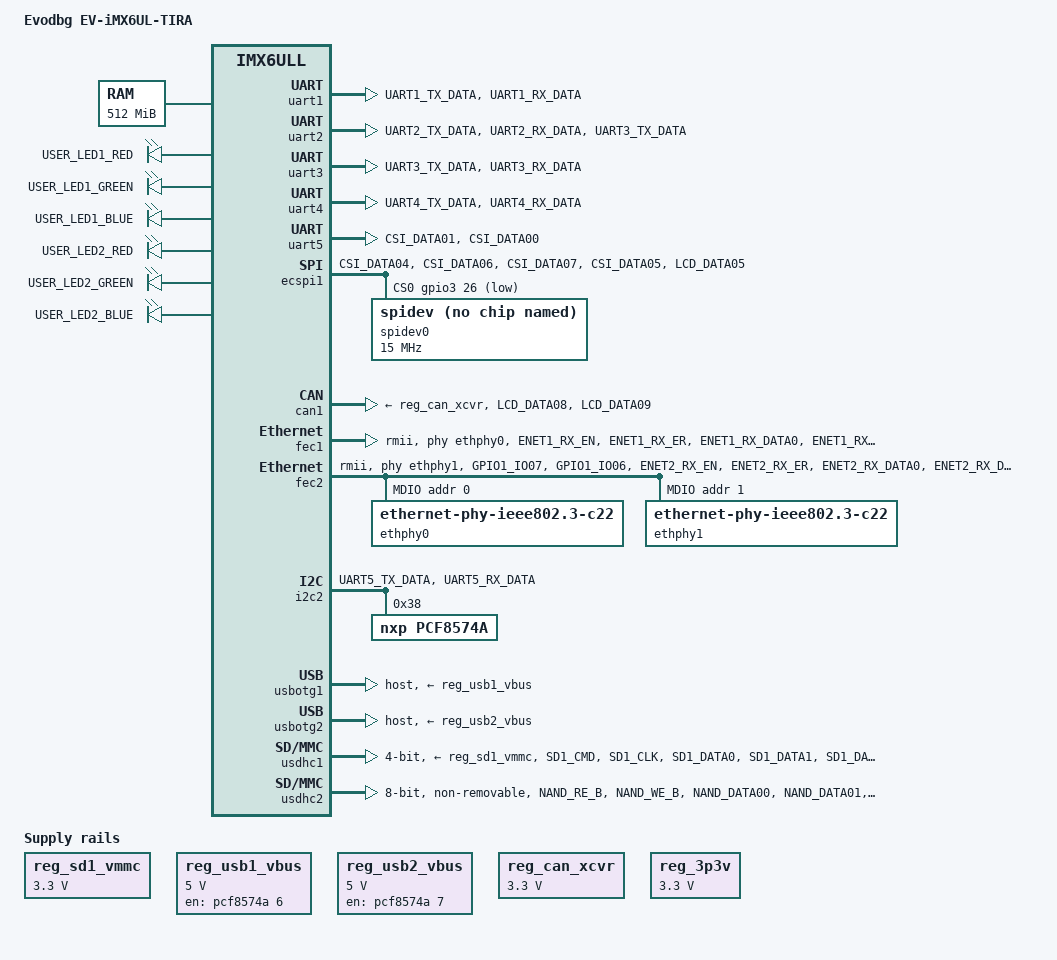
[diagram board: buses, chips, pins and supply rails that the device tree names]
/*
 * Copyright (C) 2015 Freescale Semiconductor, Inc.
 *
 * This program is free software; you can redistribute it and/or modify
 * it under the terms of the GNU General Public License version 2 as
 * published by the Free Software Foundation.
 */

 /*
  * EV-iMX6UL-NANO module 
  * www.otladka.com.ua
  * contact  evodbg@gmail.com
  */

/dts-v1/;

#include "imx6ull.dtsi"

/ {
        model = "Evodbg EV-iMX6UL-TIRA";
        compatible = "fsl,imx6ull-14x14-evk", "fsl,imx6ull";

        memory {
                reg = <0x80000000 0x20000000>;
        };

        chosen {
                stdout-path = &uart1;
        };

       
        regulators {
                compatible = "simple-bus";
                #address-cells = <1>;
                #size-cells = <0>;


                reg_sd1_vmmc: regulator-sd1 {
                        compatible = "regulator-fixed";
                        reg = <1>;
                        regulator-name = "VSD_3V3";
                        regulator-min-microvolt = <3300000>;
                        regulator-max-microvolt = <3300000>;
                        regulator-always-on;
                };

                reg_usb1_vbus: regulator-usb1 {
                        compatible = "regulator-fixed";
                        reg = <2>;
                        regulator-name = "usb1_vbus";
                        regulator-min-microvolt = <5000000>;
                        regulator-max-microvolt = <5000000>;
                        gpio = <&pcf8574a 6 GPIO_ACTIVE_HIGH>;
			            enable-active-high;
                        regulator-always-on;
                };


                reg_usb2_vbus: regulator-usb2 {
                        compatible = "regulator-fixed";
                        reg = <3>;
                        regulator-name = "usb2_vbus";
                        regulator-min-microvolt = <5000000>;
                        regulator-max-microvolt = <5000000>;
                        gpio = <&pcf8574a 7 GPIO_ACTIVE_HIGH>;
			            enable-active-high;
                        regulator-always-on;
                };

                reg_can_xcvr: regulator-canxcvr {
                        compatible = "regulator-fixed";
                        reg = <4>;
                        regulator-name = "CAN XCVR";
                        regulator-min-microvolt = <3300000>;
                        regulator-max-microvolt = <3300000>;
                        regulator-always-on;
    		    };

    		    reg_3p3v: regulator-3p3v {
                        compatible = "regulator-fixed";
                        reg = <9>;
                        regulator-name = "3P3V";
                        regulator-min-microvolt = <3300000>;
                        regulator-max-microvolt = <3300000>;
                        regulator-always-on;
                        regulator-boot-on;
                };


    };

        leds    {
                        compatible = "gpio-leds";
                        pinctrl-names = "default";                        

                    USER_LED1R {                                                        // Onboard User LED1 Red
                        gpio = <&pcf8574a 0 GPIO_ACTIVE_LOW>;
                        label = "USER_LED1_RED";
                        linux,default-trigger = "20b4000.ethernet-1:01:link";
                        default-state = "off";
                        };    

                    USER_LED1G {                                                        // Onboard User LED1 Green
                        gpio = <&pcf8574a 1 GPIO_ACTIVE_LOW>;
                        label = "USER_LED1_GREEN";
                        linux,default-trigger = "none";
                        default-state = "off";
                        };        

                    USER_LED1B {                                                        // Onboard User LED1 Blue
                        gpio = <&pcf8574a 2 GPIO_ACTIVE_LOW>;
                        label = "USER_LED1_BLUE";
                        linux,default-trigger = "20b4000.ethernet-1:01:100Mbps";
                        default-state = "off";
                        };                                

                    USER_LED2R {                                                        // Onboard User LED2 Red
                        gpio = <&pcf8574a 3 GPIO_ACTIVE_LOW>;
                        label = "USER_LED2_RED";
                        linux,default-trigger = "20b4000.ethernet-1:00:link";
                        default-state = "off";
                        };     

                    USER_LED2G {                                                        // Onboard User LED2 Green
                        gpio = <&pcf8574a 4 GPIO_ACTIVE_LOW>;
                        label = "USER_LED2_GREEN";
                        linux,default-trigger = "none";
                        default-state = "off";
                        };   

                    USER_LED2B {                                                        // Onboard User LED2 Red
                        gpio = <&pcf8574a 5 GPIO_ACTIVE_LOW>;
                        label = "USER_LED2_BLUE";
                        linux,default-trigger = "20b4000.ethernet-1:00:100Mbps";
                        default-state = "off";
                        };                                                          
        };
};


&clks {
	    assigned-clocks = <&clks IMX6UL_CLK_PLL4_AUDIO_DIV>;
	    assigned-clock-rates = <786432000>;
};


&uart1 {                                        // DUART console  pins 13+15
        pinctrl-names = "default";
        pinctrl-0 = <&pinctrl_uart1>;
        status = "okay";
};


&uart2 {                                        // UART2 - RS485 interface pins 17+19+50 (mux with CAN)
        pinctrl-names = "default";
        pinctrl-0 = <&pinctrl_uart2>;
        uart-has-rtscts;
        status = "okay";
};

&uart3 {                                        // UART3 - pins 21 + 23
        pinctrl-names = "default";
        pinctrl-0 = <&pinctrl_uart3>;
        status = "okay";
};

&uart4 {                                        // UART4 - pins 28 + 30
        pinctrl-names = "default";
        pinctrl-0 = <&pinctrl_uart4>;
        status = "okay";
};


&uart5 {                                        
        pinctrl-names = "default";              // UART5 - pins 36 + 38
        pinctrl-0 = <&pinctrl_uart5>;
        status = "okay";
};



&ecspi1 {   
        fsl,spi-num-chipselects = <1>;          
        cs-gpios = <&gpio3 26 GPIO_ACTIVE_LOW
		            >;
        pinctrl-names = "default";
        pinctrl-0 = <&pinctrl_ecspi1>;
        status = "okay";

        spidev0: spi@0 {
                compatible = "spidev";
                reg = <0>;
                spi-max-frequency = <15000000>;
                };
};


&can1 {
        pinctrl-names = "default";              // CAN1 - pins 44 + 46
        pinctrl-0 = <&pinctrl_flexcan1>;
        xceiver-supply = <&reg_can_xcvr>;
        status = "okay";
};


&fec1 {
        pinctrl-names = "default";
        pinctrl-0 = <&pinctrl_enet1>;
        phy-mode = "rmii";
        phy-handle = <&ethphy0>;
        phy-reset-gpios = <&gpio5 1 GPIO_ACTIVE_LOW>;
        phy-reset-duration = <100>;
        status = "okay";
};



&fec2 {
        pinctrl-names = "default";
        pinctrl-0 = <&pinctrl_enet2>;
        phy-mode = "rmii";
        phy-handle = <&ethphy1>;
        status = "okay";

        mdio {
                #address-cells = <1>;
                #size-cells = <0>;

                ethphy0: ethernet-phy@0 {
                        compatible = "ethernet-phy-ieee802.3-c22";
                        reg = <0>;
                };

                ethphy1: ethernet-phy@1 {
                        compatible = "ethernet-phy-ieee802.3-c22";
                        reg = <1>;
                };
        };
};

&gpc {
        fsl,cpu_pupscr_sw2iso = <0x1>;
        fsl,cpu_pupscr_sw = <0x0>;
        fsl,cpu_pdnscr_iso2sw = <0x1>;
        fsl,cpu_pdnscr_iso = <0x1>;
        fsl,ldo-bypass = <0>; /* DCDC, ldo-enable */
};

&i2c2 {
        clock_frequency = <400000>;
        pinctrl-names = "default";
        pinctrl-0 = <&pinctrl_i2c2>;
        status = "okay";

	pcf8574a: gpio@38 {                                     //GPIO Expander1 only out U12 (Mainboard)
                                    // P0 - LED 1 Red
                                    // P1 - LED 1 Green
                                    // P2 - LED 1 Blue
                	                // P3 - LED 2 Red
                                    // P4 - LED 2 Green
                    	            // P5 - LED 2 Blue
                                    // P6 - USB1 Power Enale
                                    // P7 - USB2 Power Enable
                compatible = "nxp,pcf8574a";
                reg = <0x38>;                                   // PCF8574A Address -0-0-0
                gpio-controller;
                #gpio-cells = <2>;
                };
};

&usbotg1 {
        dr_mode = "host";
        srp-disable;
        hnp-disable;
        adp-disable;
        vbus-supply = <&reg_usb1_vbus>;
        status = "okay";
};

&usbotg2 {
        vbus-supply = <&reg_usb2_vbus>;
        dr_mode = "host";
        disable-over-current;
        status = "okay";
};

&usbphy1 {
        tx-d-cal = <0x5>;
};

&usbphy2 {
        tx-d-cal = <0x5>;
};


&usdhc1 {
        #address-cells = <1>;
        #size-cells = <0>;
        pinctrl-names = "default";
        pinctrl-0 = <&pinctrl_usdhc1>;
        bus-width = <4>;
        cd-gpios = <&gpio1 19 GPIO_ACTIVE_LOW>;
        keep-power-in-suspend;
        wakeup-source;
        vmmc-supply = <&reg_sd1_vmmc>;
        status = "okay";
};

&usdhc2 {
        pinctrl-names = "default";
        pinctrl-0 = <&pinctrl_usdhc2>;
        bus-width = <8>;
        no-1-8-v;
        non-removable;
        keep-power-in-suspend;
        enable-sdio-wakeup;
        status = "okay";
};

&iomuxc {
        pinctrl-names = "default";
        pinctrl-0 = <&pinctrl_hog>;
        pinctrl_hog: hoggrp {
                        fsl,pins = <

// Main Connector                                                                     Module pin

                                // MX6UL_PAD_SD1_CLK__GPIO2_IO17                          4
                                // MX6UL_PAD_SD1_CMD__GPIO2_IO16                          6
                                // MX6UL_PAD_GPIO1_IO00__GPIO1_IO00                       7
                                // MX6UL_PAD_SD1_DATA0__GPIO2_IO18                        8
                                // MX6UL_PAD_SD1_DATA1__GPIO2_IO19                       10
                                // MX6UL_PAD_SD1_DATA2__GPIO2_IO20                       12
                                // MX6UL_PAD_UART1_RX_DATA__GPIO1_IO17                   13
                                // MX6UL_PAD_SD1_DATA3__GPIO2_IO21                       14
                                // MX6UL_PAD_UART1_TX_DATA__GPIO1_IO16                   15
                                // MX6UL_PAD_UART1_RTS_B__GPIO1_IO19                     16
                                // MX6UL_PAD_UART2_RX_DATA__GPIO1_IO21                   17
                                // MX6UL_PAD_CSI_DATA04__GPIO4_IO25                      18
                                // MX6UL_PAD_UART2_TX_DATA__GPIO1_IO20                   19
                                // MX6UL_PAD_CSI_DATA07__GPIO4_IO28                      20
                                // MX6UL_PAD_UART3_RX_DATA__GPIO1_IO25                   21
                                // MX6UL_PAD_CSI_DATA06__GPIO4_IO27                      22
                                // MX6UL_PAD_UART3_TX_DATA__GPIO1_IO24                   23
                                // MX6UL_PAD_CSI_DATA05__GPIO4_IO26                      24
                                // MX6UL_PAD_CSI_PIXCLK__GPIO4_IO18                      25
                                // MX6UL_PAD_LCD_DATA05__GPIO3_IO10                      26
                                // MX6UL_PAD_CSI_MCLK__GPIO4_IO17                        27
                                // MX6UL_PAD_UART4_RX_DATA__GPIO1_IO29                   28
                                // MX6UL_PAD_UART4_TX_DATA__GPIO1_IO28                   30
                                // MX6UL_PAD_UART3_RTS_B__GPIO1_IO27                     32
                                // MX6UL_PAD_CSI_DATA02__GPIO4_IO23                      34
                                // MX6UL_PAD_CSI_DATA01__GPIO4_IO22                      36
                                // MX6UL_PAD_CSI_DATA00__GPIO4_IO21                      38
                                // MX6UL_PAD_CSI_HSYNC__GPIO4_IO20                       40
                                // MX6UL_PAD_CSI_VSYNC__GPIO4_IO19                       42
                                // MX6UL_PAD_LCD_DATA09__GPIO3_IO14                      44
                                // MX6UL_PAD_LCD_DATA08__GPIO3_IO13                      46
                                // MX6UL_PAD_UART2_RTS_B__GPIO1_IO23                     48
                                // MX6UL_PAD_UART2_CTS_B__GPIO1_IO22                     50
                                        
                        >;
                };
              
                pinctrl_enet1: enet1grp {
                        fsl,pins = <
                                MX6UL_PAD_ENET1_RX_EN__ENET1_RX_EN      0x1b0b0
                                MX6UL_PAD_ENET1_RX_ER__ENET1_RX_ER      0x1b0b0
                                MX6UL_PAD_ENET1_RX_DATA0__ENET1_RDATA00 0x1b0b0
                                MX6UL_PAD_ENET1_RX_DATA1__ENET1_RDATA01 0x1b0b0
                                MX6UL_PAD_ENET1_TX_EN__ENET1_TX_EN      0x1b0b0
                                MX6UL_PAD_ENET1_TX_DATA0__ENET1_TDATA00 0x1b0b0
                                MX6UL_PAD_ENET1_TX_DATA1__ENET1_TDATA01 0x1b0b0
                                MX6UL_PAD_ENET1_TX_CLK__ENET1_REF_CLK1  0x4001b031
                                MX6UL_PAD_SNVS_TAMPER1__GPIO5_IO01      0x0b0b0
                        >;
                };

                pinctrl_enet2: enet2grp {
                        fsl,pins = <
                                MX6UL_PAD_GPIO1_IO07__ENET2_MDC         0x1b0b0
                                MX6UL_PAD_GPIO1_IO06__ENET2_MDIO        0x1b0b0
                                MX6UL_PAD_ENET2_RX_EN__ENET2_RX_EN      0x1b0b0
                                MX6UL_PAD_ENET2_RX_ER__ENET2_RX_ER      0x1b0b0
                                MX6UL_PAD_ENET2_RX_DATA0__ENET2_RDATA00 0x1b0b0
                                MX6UL_PAD_ENET2_RX_DATA1__ENET2_RDATA01 0x1b0b0
                                MX6UL_PAD_ENET2_TX_EN__ENET2_TX_EN      0x1b0b0
                                MX6UL_PAD_ENET2_TX_DATA0__ENET2_TDATA00 0x1b0b0
                                MX6UL_PAD_ENET2_TX_DATA1__ENET2_TDATA01 0x1b0b0
                                MX6UL_PAD_ENET2_TX_CLK__ENET2_REF_CLK2  0x4001b031
                        >;
                };

		        pinctrl_i2c2: i2c2grp {
                        fsl,pins = <
                                       
                                MX6UL_PAD_UART5_TX_DATA__I2C2_SCL       0x4001b8b0 
                                MX6UL_PAD_UART5_RX_DATA__I2C2_SDA       0x4001b8b0
                        >;
                };

                pinctrl_ecspi1: spi1grp {
                        fsl,pins = <
                                MX6UL_PAD_CSI_DATA04__ECSPI1_SCLK       0x1b0b1
                                MX6UL_PAD_CSI_DATA06__ECSPI1_MOSI       0x1b0b1
                                MX6UL_PAD_CSI_DATA07__ECSPI1_MISO       0x1b0b1
                                MX6UL_PAD_CSI_DATA05__GPIO4_IO26        0x1b0b0         // SPI1_SS0
                                MX6UL_PAD_LCD_DATA05__GPIO3_IO10        0x1b0b0         // SPI1_SS1
                        >;
                };

                pinctrl_uart1: uart1grp {
                        fsl,pins = <
                                MX6UL_PAD_UART1_TX_DATA__UART1_DCE_TX   0x1b0b1           
                                MX6UL_PAD_UART1_RX_DATA__UART1_DCE_RX   0x1b0b1
                        >;
                };

                pinctrl_uart2: uart2grp {
                        fsl,pins = <
                                MX6UL_PAD_UART2_TX_DATA__UART2_DCE_TX   0x1b0b0         
                                MX6UL_PAD_UART2_RX_DATA__UART2_DCE_RX   0x1b0b0
                                MX6UL_PAD_UART3_TX_DATA__UART2_DCE_CTS  0x1b0b0       
                        >;
                };

                pinctrl_uart3: uart3grp {
                        fsl,pins = <        
                                MX6UL_PAD_UART3_TX_DATA__UART3_DCE_TX   0x1b0b1
                                MX6UL_PAD_UART3_RX_DATA__UART3_DCE_RX   0x1b0b1   

                        >;
                };

                pinctrl_uart4: uart4grp {
                        fsl,pins = <
                                MX6UL_PAD_UART4_TX_DATA__UART4_DCE_TX   0x1b0b0        
                                MX6UL_PAD_UART4_RX_DATA__UART4_DCE_RX   0x1b0b0
                        >;
                };

                pinctrl_uart5: uart5grp {                                               
                        fsl,pins = <   
                                MX6UL_PAD_CSI_DATA01__UART5_DCE_RX      0x1b0b1
                                MX6UL_PAD_CSI_DATA00__UART5_DCE_TX      0x1b0b1        
                        >;
                };

                pinctrl_flexcan1: flexcan1grp {
                        fsl,pins = <
                                MX6UL_PAD_LCD_DATA08__FLEXCAN1_TX      0x0b0b0
                                MX6UL_PAD_LCD_DATA09__FLEXCAN1_RX      0x0b0b0
                >;
                };
            
/* USDH1 - WIFI */
		pinctrl_usdhc1: usdhc1grp {
                        fsl,pins = <
                                MX6UL_PAD_SD1_CMD__USDHC1_CMD           0x17059               
                                MX6UL_PAD_SD1_CLK__USDHC1_CLK           0x10059               
                                MX6UL_PAD_SD1_DATA0__USDHC1_DATA0       0x17059
                                MX6UL_PAD_SD1_DATA1__USDHC1_DATA1       0x17059
                                MX6UL_PAD_SD1_DATA2__USDHC1_DATA2       0x17059
                                MX6UL_PAD_SD1_DATA3__USDHC1_DATA3       0x17059   
                                MX6UL_PAD_UART1_RTS_B__GPIO1_IO19       0x17059 /* SD1 CD */                                     
                        >;
                };

                pinctrl_usdhc2: usdhc2grp {
                        fsl,pins = <
                                MX6UL_PAD_NAND_RE_B__USDHC2_CLK         0x10069
                                MX6UL_PAD_NAND_WE_B__USDHC2_CMD         0x17059
                                MX6UL_PAD_NAND_DATA00__USDHC2_DATA0     0x17059
                                MX6UL_PAD_NAND_DATA01__USDHC2_DATA1     0x17059
                                MX6UL_PAD_NAND_DATA02__USDHC2_DATA2     0x17059
                                MX6UL_PAD_NAND_DATA03__USDHC2_DATA3     0x17059
                                MX6UL_PAD_NAND_DATA04__USDHC2_DATA4     0x17059
                                MX6UL_PAD_NAND_DATA05__USDHC2_DATA5     0x17059
                                MX6UL_PAD_NAND_DATA06__USDHC2_DATA6     0x17059
                                MX6UL_PAD_NAND_DATA07__USDHC2_DATA7     0x17059

                        >;
                };
};


